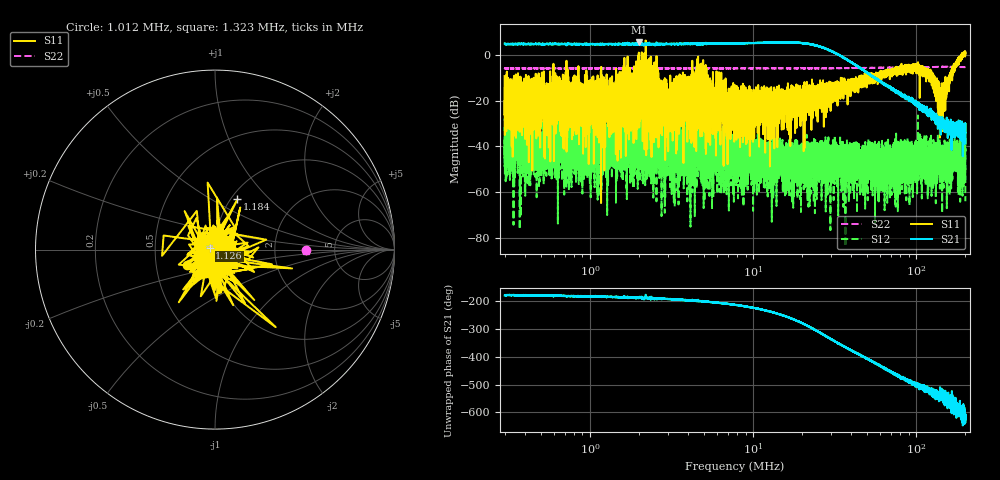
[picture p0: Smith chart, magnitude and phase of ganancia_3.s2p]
# Hz S DB R 50
! CMT, M5065, 19127446, 24.2.4/2
! Date: 11/1/2024 4:15:34 PM
! Data: Format (Calibration Info)
! Freq	S11:dB/Ang(F2)	S21:dB/Ang(F2)	S12:dB/Ang(F2)	S22:dB/Ang(F2)
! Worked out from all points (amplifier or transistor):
!   9000 points, 300 kHz to 200 MHz, reference 50 ohm
!   highest |S21| = 5.7 dB at 1.993 MHz (marker M1)
!   |S21| within 3 dB of that: start of sweep to 27.67 MHz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
!   unconditionally stable (mu >= 1): start of sweep to 1.992 MHz; 2.197 MHz to 189.3 MHz; 191.2061 MHz to 191.823 MHz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
!   at 886.8 kHz: K = 13.39, MAG = 6.1 dB, |S12| = -36.0 dB
!   at 7.749 MHz: K = 20.48, MAG = 6.4 dB, |S12| = -39.9 dB
!   at 200 MHz: K = -6071.68, MSG = 16.9 dB, |S12| = -64.1 dB
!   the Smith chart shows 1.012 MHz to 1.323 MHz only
!   S11 on the Smith chart (normalised r, x): 1.012 MHz: 0.72, -0.13; 1.126 MHz: 0.94, +0.02; 1.184 MHz: 1.07, +0.66; 1.323 MHz: 0.95, -0.37
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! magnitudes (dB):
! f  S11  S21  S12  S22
! 300 kHz  -9.3  5.0  -37.7  -5.9
! 310.1 kHz  -19.7  4.7  -39.7  -5.9
! 886.8 kHz  -17.9  4.8  -36.0  -5.9
! 1.012 MHz  -15.1  4.9  -36.8  -5.9
! 1.126 MHz  -30.3  4.7  -39.4  -5.9
! 1.184 MHz  -10.3  4.5  -43.0  -5.9
! 1.323 MHz  -14.5  4.8  -37.3  -5.9
! 1.993 MHz  1.0  5.7  -36.9  -5.9
! 2.621 MHz  -19.6  4.7  -43.2  -5.9
! 2.981 MHz  -15.7  4.8  -40.7  -5.8
! 4.012 MHz  -25.3  4.9  -54.8  -5.9
! 4.758 MHz  -16.6  4.7  -38.9  -5.9
! 5.063 MHz  -22.7  4.9  -37.0  -5.9
! 7.749 MHz  -27.4  5.1  -39.9  -5.9
! 22.91 MHz  -18.9  4.6  -42.4  -5.8
! 67.71 MHz  -7.5  -13.9  -54.5  -5.6
! 109 MHz  -6.6  -24.0  -39.0  -5.4
! 125.9 MHz  -8.3  -27.5  -45.9  -5.3
! 144.2 MHz  -15.5  -27.2  -39.6  -5.2
! 165.1 MHz  -9.4  -33.0  -44.0  -5.2
! 192.8 MHz  -0.5  -44.4  -40.5  -5.3
! 200 MHz  1.2  -30.2  -64.1  -5.3
